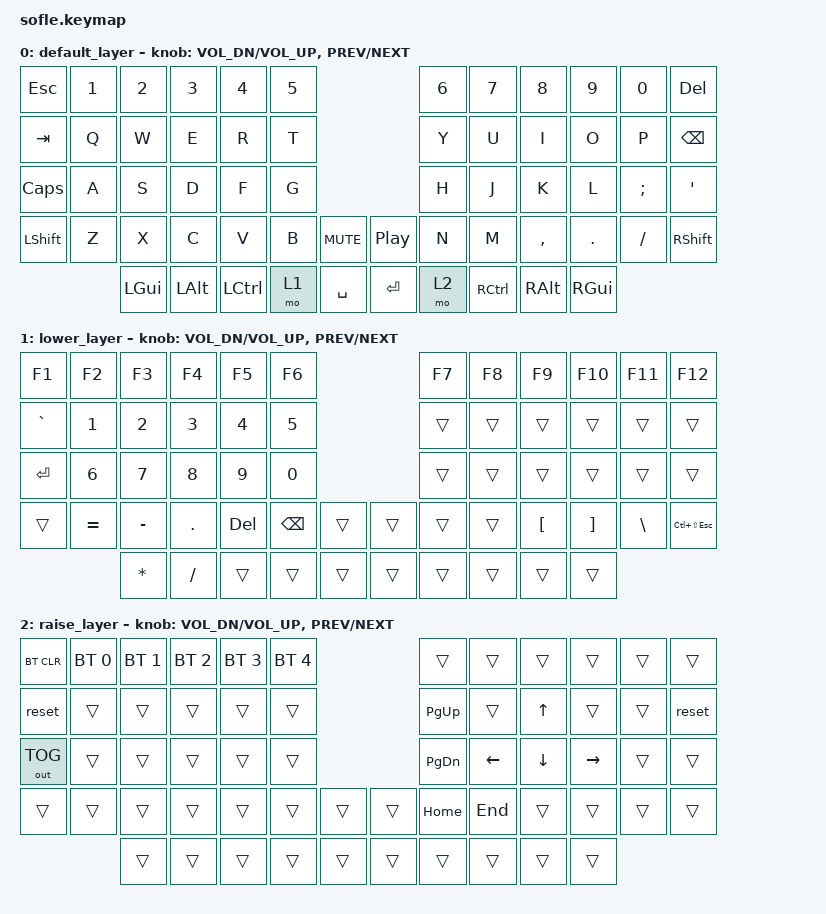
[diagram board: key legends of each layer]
/*
 * Copyright (c) 2020 The ZMK Contributors
 *
 * SPDX-License-Identifier: MIT
 */

#include <behaviors.dtsi>
#include <dt-bindings/zmk/keys.h>
#include <dt-bindings/zmk/bt.h>
#include <dt-bindings/zmk/outputs.h>

&left_encoder { resolution = <3>; };
&right_encoder { resolution = <3>; };



/ {
    keymap {
        compatible = "zmk,keymap";

        default_layer {
// ------------------------------------------------------------------------------------------------------------
// |  ESC  |  1  |  2  |  3   |  4   |  5   |                   |  6   |  7    |  8    |  9   |   0   |   DEL |
// |  TAB  |  Q  |  W  |  E   |  R   |  T   |                   |  Y   |  U    |  I    |  O   |   P   | BKSPC |
// |  CAPS |  A  |  S  |  D   |  F   |  G   |                   |  H   |  J    |  K    |  L   |   ;   |   '   |
// | SHIFT |  Z  |  X  |  C   |  V   |  B   |  MUTE  |  | PAUSE |  N   |  M    |  ,    |  .   |   /   | SHIFT |
//               | WIN | ALT  | CTRL | LOWER|  Space |  | Enter | RAISE| CTRL  | ALT   | WIN  |
            bindings = <
&kp ESC   &kp N1 &kp N2   &kp N3   &kp N4    &kp N5                      &kp N6 &kp N7    &kp N8    &kp N9   &kp N0   &kp DEL
&kp TAB   &kp Q  &kp W    &kp E    &kp R     &kp T                       &kp Y  &kp U     &kp I     &kp O    &kp P    &kp BSPC
&kp CLCK  &kp A  &kp S    &kp D    &kp F     &kp G                       &kp H  &kp J     &kp K     &kp L    &kp SEMI &kp SQT
&kp LSHFT &kp Z  &kp X    &kp C    &kp V     &kp B  &kp C_MUTE &kp C_PP  &kp N  &kp M     &kp COMMA &kp DOT  &kp FSLH &kp RSHFT
                 &kp LGUI &kp LALT &kp LCTRL &mo 1  &kp SPACE  &kp RET   &mo 2  &kp RCTRL &kp RALT  &kp RGUI
            >;

            sensor-bindings = <&inc_dec_kp C_VOL_DN C_VOL_UP &inc_dec_kp C_PREV C_NEXT>;
        };

        lower_layer {
// TODO: Some binds are waiting for shifted keycode support.
// ------------------------------------------------------------------------------------------------------------
// |   F1  |  F2 |  F3 |  F4  |  F5  |  F6  |                   |  F7  |  F8   |  F9   |  F10 |  F11  |  F12  |
// |   `   |   1 |   2 |   3  |   4  |   5  |                   |      |       |       |      |       |       |
// | Enter |  6  |  7  |  8   |  9   |  0   |                   |      |       |       |      |       |       |
// |       |  =  |  -  |  .   | DEL  | BKSPC|        |  |       |      |       |   [   |   ]  |   \   |TSKMNG |
//               |  *  |  /   |      |      |        |  |       |      |       |       |      |
            bindings = <
&kp F1     &kp F2    &kp F3    &kp F4    &kp F5    &kp F6                    &kp F7    &kp F8   &kp F9   &kp F10   &kp F11   &kp F12
&kp GRAVE  &kp N1    &kp N2    &kp N3    &kp N4    &kp N5                    &trans    &trans   &trans   &trans    &trans    &trans
&kp RET    &kp N6    &kp N7    &kp N8    &kp N9    &kp N0                    &trans    &trans   &trans   &trans    &trans    &trans
&trans     &kp EQUAL &kp MINUS &kp DOT   &kp DEL   &kp BSPC  &trans   &trans &trans    &trans   &kp LBKT &kp RBKT  &kp BSLH  &kp LC(LS(ESC))
                     &kp ASTRK &kp SLASH &trans    &trans    &trans   &trans &trans    &trans   &trans   &trans
            >;

            sensor-bindings = <&inc_dec_kp C_VOL_DN C_VOL_UP &inc_dec_kp C_PREV C_NEXT>;
        };

        raise_layer {
// ------------------------------------------------------------------------------------------------------------
// | BTCLR | BT1  | BT2  |  BT3  |  BT4  |  BT5 |                |      |      |       |      |       |       |
// |  RST  |      |      |       |       |      |                | PGUP |      |   ^   |      |       | RST   |
// |OUT TOG|      |      |       |       |      |                | PGDN |   <- |   v   |  ->  |       |       |
// |       |      |      |       |       |      |      |  |      | HOME |  END |       |      |       |       |
//                |      |       |       |      |      |  |      |      |      |       |      |
            bindings = <
&bt BT_CLR   &bt BT_SEL 0    &bt BT_SEL 1 &bt BT_SEL 2 &bt BT_SEL 3 &bt BT_SEL 4             &trans    &trans    &trans   &trans    &trans  &trans
&reset       &trans          &trans       &trans       &trans       &trans                   &kp PG_UP &trans    &kp UP   &trans    &trans  &reset
&out OUT_TOG &trans          &trans       &trans       &trans       &trans                   &kp PG_DN &kp LEFT  &kp DOWN &kp RIGHT &trans  &trans
&trans       &trans          &trans       &trans       &trans       &trans  &trans   &trans  &kp HOME  &kp END   &trans   &trans    &trans  &trans
                             &trans       &trans       &trans       &trans  &trans   &trans  &trans    &trans    &trans   &trans
            >;

            sensor-bindings = <&inc_dec_kp C_VOL_DN C_VOL_UP &inc_dec_kp C_PREV C_NEXT>;
        };
    };
};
